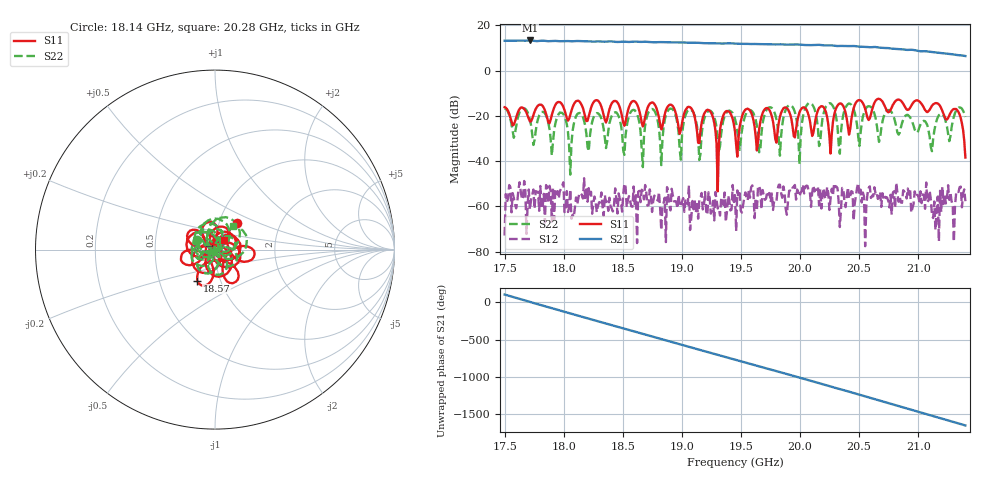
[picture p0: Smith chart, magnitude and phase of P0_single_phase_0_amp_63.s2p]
!Created with skrf (http://scikit-rf.org).
# GHz S RI R 50.0
!freq ReS11 ImS11 ReS21 ImS21 ReS12 ImS12 ReS22 ImS22
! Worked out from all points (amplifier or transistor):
!   401 points, 17.5 GHz to 21.4 GHz, reference 50 ohm
!   highest |S21| = 13.3 dB at 17.71 GHz (marker M1)
!   |S21| within 3 dB of that: start of sweep to 20.65 GHz
!   unconditionally stable (mu >= 1): start of sweep to end of sweep
!   at 18.14 GHz: K = 55.67, MAG = 13.2 dB, |S12| = -54.4 dB
!   at 19.45 GHz: K = 71.47, MAG = 12.0 dB, |S12| = -55.1 dB
!   at 21.4 GHz: K = 181.99, MAG = 6.5 dB, |S12| = -57.7 dB
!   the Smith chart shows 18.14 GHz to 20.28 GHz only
!   S11 on the Smith chart (normalised r, x): 18.14 GHz: 1.21, +0.37; 18.57 GHz: 0.78, -0.28; 20.28 GHz: 1.10, +0.12
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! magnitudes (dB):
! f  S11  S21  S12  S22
! 17.5 GHz  -16.2  13.2  -73.0  -16.7
! 17.71 GHz  -22.5  13.3  -61.5  -21.7
! 17.99 GHz  -15.1  13.0  -50.8  -18.7
! 18.06 GHz  -19.5  13.0  -52.5  -46.0
! 18.14 GHz  -14.4  13.0  -54.4  -18.9
! 18.15 GHz  -15.4  13.0  -54.9  -19.4
! 18.51 GHz  -24.4  12.8  -50.0  -37.3
! 18.57 GHz  -14.0  12.7  -60.0  -18.0
! 18.81 GHz  -20.8  12.6  -53.7  -25.4
! 19.45 GHz  -26.9  11.9  -55.1  -21.3
! 19.83 GHz  -20.4  11.6  -50.4  -37.7
! 19.92 GHz  -19.5  11.5  -53.1  -15.2
! 20 GHz  -18.4  11.5  -55.6  -41.3
! 20.1 GHz  -28.9  11.3  -53.8  -14.9
! 20.16 GHz  -16.5  11.4  -59.6  -33.4
! 20.28 GHz  -22.8  11.1  -55.3  -15.7
! 20.34 GHz  -14.5  10.9  -69.2  -36.8
! 20.41 GHz  -24.7  10.9  -51.7  -14.8
! 20.76 GHz  -18.2  9.9  -60.5  -17.5
! 21.12 GHz  -15.5  8.2  -63.9  -35.7
! 21.32 GHz  -17.0  6.9  -54.1  -17.6
! 21.4 GHz  -38.4  6.4  -57.7  -20.5
